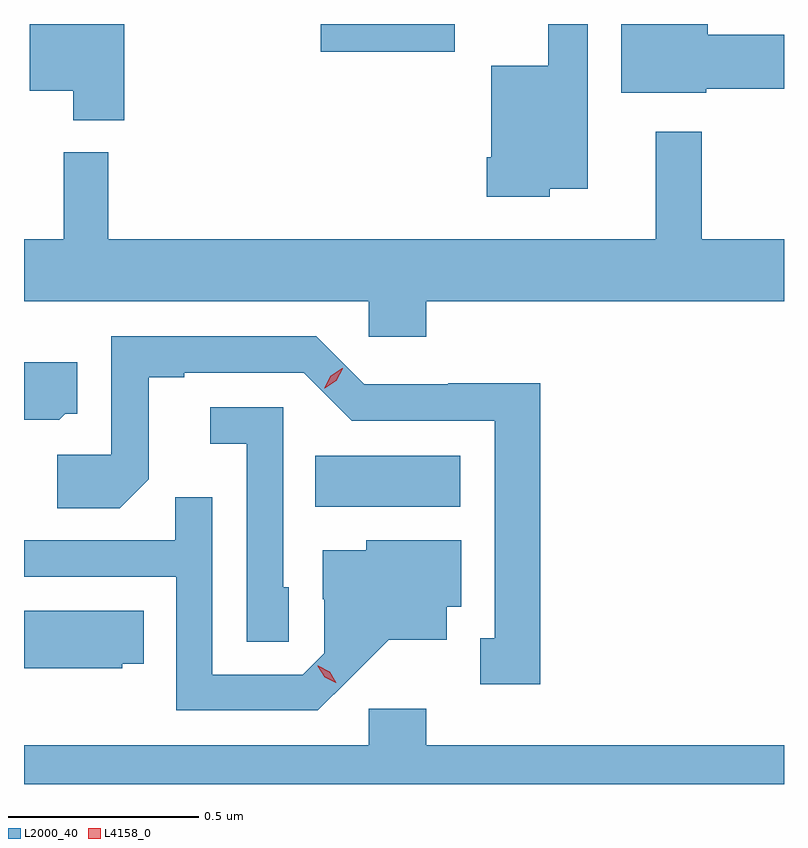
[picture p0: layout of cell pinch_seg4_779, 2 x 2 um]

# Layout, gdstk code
import gdstk
lib = gdstk.Library(unit=1e-6, precision=1e-09)
def R(c, l, rs):  # rectangles x0, y0, x1, y1
    for r in rs: c.add(gdstk.rectangle(r[:2], r[2:], *l))
def P(c, l, *ps):  # polygons
    for p in ps: c.add(gdstk.Polygon(p, *l))
L2000_40 = (2000, 40)
L4158_0 = (4158, 0)

pinch_seg4_779 = lib.new_cell('pinch_seg4_779')
R(pinch_seg4_779, L2000_40, [(783.61,818.924,783.991,819.058), (783.624,820.121,783.976,820.194)])
P(pinch_seg4_779, L2000_40, [(784.638,820.024),(784.843,820.024),(784.843,820.166),(784.642,820.166),(784.642,820.194),(784.415,820.194),(784.415,820.013),(784.638,820.013)],
  [(784.227,819.761),(784.327,819.761),(784.327,820.194),(784.223,820.194),(784.223,820.084),(784.073,820.084),(784.073,819.844),(784.061,819.844),(784.061,819.74),(784.227,819.74)],
  [(783.107,820.194),(782.858,820.194),(782.858,820.019),(782.972,820.019),(782.972,819.941),(783.107,819.941)],
  [(783.902,819.464),(784.843,819.464),(784.843,819.628),(784.627,819.628),(784.627,819.91),(784.505,819.91),(784.505,819.628),(783.065,819.628),(783.065,819.856),(782.948,819.856),(782.948,819.628),(782.843,819.628),(782.843,819.464),(783.75,819.464),(783.75,819.371),(783.902,819.371)],
  [(784.201,819.248),(783.96,819.248),(783.96,819.246),(783.738,819.246),(783.612,819.372),(783.072,819.372),(783.072,819.06),(782.931,819.06),(782.931,818.92),(783.095,818.92),(783.171,818.996),(783.171,819.264),(783.265,819.264),(783.265,819.276),(783.579,819.276),(783.705,819.15),(784.082,819.15),(784.082,818.577),(784.043,818.577),(784.043,818.457),(784.201,818.457)],
  [(782.952,819.168),(782.983,819.168),(782.983,819.304),(782.843,819.304),(782.843,819.152),(782.936,819.152)],
  [(783.54,818.712),(783.525,818.712),(783.525,819.186),(783.333,819.186),(783.333,819.089),(783.429,819.089),(783.429,818.569),(783.54,818.569)],
  [(783.7,818.471),(783.803,818.573),(783.955,818.573),(783.955,818.66),(783.994,818.66),(783.994,818.836),(783.744,818.836),(783.744,818.809),(783.629,818.809),(783.629,818.68),(783.633,818.68),(783.633,818.538),(783.576,818.481),(783.339,818.481),(783.339,818.948),(783.241,818.948),(783.241,818.835),(782.843,818.835),(782.843,818.739),(783.243,818.739),(783.243,818.388),(783.616,818.388)],
  [(783.102,818.51),(783.158,818.51),(783.158,818.65),(782.843,818.65),(782.843,818.498),(783.102,818.498)],
  [(784.843,818.296),(783.902,818.296),(783.902,818.392),(783.75,818.392),(783.75,818.296),(782.843,818.296),(782.843,818.194),(784.843,818.194)])
P(pinch_seg4_779, L4158_0, [(783.633,819.235),(783.633,819.236),(783.65,819.268),(783.681,819.288),(783.682,819.288),(783.682,819.287),(783.665,819.255),(783.634,819.235)],
  [(783.664,818.46),(783.634,818.475),(783.616,818.504),(783.616,818.505),(783.617,818.505),(783.647,818.49),(783.665,818.461),(783.665,818.46)])

lib.write_gds('pinch_seg4_779.gds')
